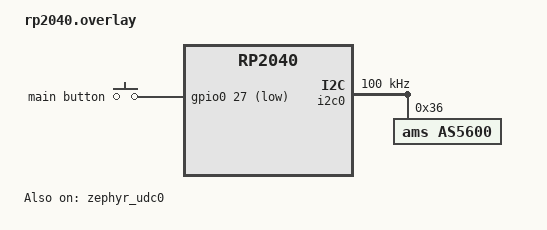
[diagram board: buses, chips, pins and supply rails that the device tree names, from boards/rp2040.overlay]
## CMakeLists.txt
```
# SPDX-License-Identifier: Apache-2.0

cmake_minimum_required(VERSION 3.20.0)
find_package(Zephyr REQUIRED HINTS $ENV{ZEPHYR_BASE})
project(opendial)

include(${ZEPHYR_BASE}/samples/subsys/usb/common/common.cmake)
FILE(GLOB app_sources src/*.c)
target_sources(app PRIVATE ${app_sources})
```

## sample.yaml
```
sample:
  name: USB HID keyboard sample
common:
  filter: dt_alias_exists("sw0") and dt_alias_exists("led0")
  depends_on:
    - usbd
    - gpio
  tags: usb
  timeout: 15
  harness: console
  harness_config:
    type: one_line
    regex:
      - "HID keyboard sample is initialized"
  integration_platforms:
    - nrf52840dk/nrf52840
    - nrf54h20dk/nrf54h20/cpuapp
    - frdm_k64f
    - stm32f723e_disco
    - nucleo_f413zh
    - mimxrt685_evk/mimxrt685s/cm33
    - mimxrt1060_evk/mimxrt1062/qspi
    - samd21_xpro
    - same54_xpro
    - sam_v71_xult/samv71q21b
```

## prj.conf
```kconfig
CONFIG_USB_DEVICE_STACK_NEXT=y
CONFIG_CDC_ACM_SERIAL_INITIALIZE_AT_BOOT=n

# Core USB & Next-Gen Stack Configuration
CONFIG_USB_DEVICE_STACK_NEXT=y
CONFIG_USBD_HID_SUPPORT=y

# Logging & Console
CONFIG_LOG=y
CONFIG_USB_DEVICE_LOG_LEVEL_INF=y

CONFIG_GPIO=y
CONFIG_INPUT=y
CONFIG_INPUT_MODE_SYNCHRONOUS=y

CONFIG_I2C=y
CONFIG_SENSOR=y
CONFIG_SENSOR_ASYNC_API=y
CONFIG_AMS_AS5600=y

CONFIG_BUILD_OUTPUT_UF2=y
CONFIG_CLOCK_CONTROL=y
CONFIG_PIO_RPI_PICO=y
CONFIG_RESET=y
CONFIG_USE_DT_CODE_PARTITION=y

CONFIG_LED_STRIP=y
CONFIG_LED_STRIP_LOG_LEVEL_DBG=y

CONFIG_FLASH=y
CONFIG_FLASH_MAP=y
CONFIG_FLASH_PAGE_LAYOUT=y

CONFIG_SETTINGS=y
CONFIG_SETTINGS_RUNTIME=y
CONFIG_NVS=y
CONFIG_SETTINGS_NVS=y
```

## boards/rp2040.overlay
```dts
#include <zephyr/dt-bindings/i2c/i2c.h>
#include <raspberrypi/rpi_pico/rp2040.dtsi>
#include <zephyr/dt-bindings/pinctrl/rpi-pico-rp2040-pinctrl.h>
#include <zephyr/dt-bindings/input/input-event-codes.h>
#include <freq.h>

/ {
	aliases {
		sw0 = &button_0;
		magnet = &as5600;
		led-strip = &ws2812;
	};

	gpio_keys {
		compatible = "gpio-keys";

		button_0: button_0 {
			label = "main button";
			gpios = <&gpio0 27 (GPIO_PULL_UP | GPIO_ACTIVE_LOW)>;
			zephyr,code = <INPUT_KEY_0>;
		};
	};
}; // Properly closes the root (/) node

&i2c0 {
	status = "okay";
	pinctrl-0 = <&i2c0_custom>;
	pinctrl-names = "default";
	clock-frequency = <I2C_BITRATE_STANDARD>;

	as5600: as5600@36 {
		compatible = "ams,as5600";
		status = "okay";
		reg = <0x36>;
	};
};

&pinctrl {
	i2c0_custom: i2c0_custom {
		group1 {
			pinmux = <I2C0_SDA_P4>;
			input-enable;
		};

		group2 {
			pinmux = <I2C0_SCL_P5>;
			input-enable;
		};
	};
};

&zephyr_udc0 {
	status = "okay";

	hid_dev_0: hid_dev_0 {
		compatible = "zephyr,hid-device";
		label = "HID0";
		in-report-size = <64>;
		in-polling-period-us = <4000>;
	};
};

&gpio0 {
	status = "okay";
};

&pio0 {
	status = "okay";

	pio-ws2812 {
		compatible = "worldsemi,ws2812-rpi_pico-pio";
		status = "okay";
		pinctrl-0 = <&ws2812_pio0_default>;
		pinctrl-names = "default";
		bit-waveform = <3>, <3>, <4>;

		ws2812: ws2812 {
			status = "okay";
			gpios = <&gpio0 16 GPIO_ACTIVE_HIGH>;
			chain-length = <1>;
			color-mapping = <LED_COLOR_ID_GREEN
					 LED_COLOR_ID_RED
					 LED_COLOR_ID_BLUE>;
			reset-delay = <280>;
			frequency = <800000>;
		};
	};
};

&flash0 {
	reg = <0x10000000 DT_SIZE_M(2)>;

	partitions {
		compatible = "fixed-partitions";
		#address-cells = <1>;
		#size-cells = <1>;

		/* Reserved memory for the second stage bootloader */
		second_stage_bootloader: partition@0 {
			label = "second_stage_bootloader";
			reg = <0x00000000 0x100>;
			read-only;
		};

		slot0_partition: partition@100 {
			label = "image-0";
			reg = <0x100 (DT_SIZE_M(1) - 0xF000)>;
		};

		storage_partition: partition@1f9000 {
			label = "storage";
			reg = <0x1F9000 0x00007000>;
		};
	};
};
```

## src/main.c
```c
/*
 * Copyright (c) 2024 Nordic Semiconductor ASA
 *
 * SPDX-License-Identifier: Apache-2.0
 */

#include "zephyr/devicetree.h"

#include <stdint.h>
#include <zephyr/device.h>
#include <zephyr/drivers/gpio.h>
#include <zephyr/drivers/i2c.h>
#include <zephyr/drivers/led_strip.h>
#include <zephyr/input/input.h>
#include <zephyr/kernel.h>

#include <zephyr/drivers/sensor.h>
#include <zephyr/drivers/sensor_data_types.h>
#include <zephyr/rtio/rtio.h>

#include <zephyr/logging/log.h>

LOG_MODULE_REGISTER(main, LOG_LEVEL_INF);

#include "hid.h"
#include "settings.h"
#include "usb_device.h"

#define MODE_SWITCH_DELAY 5000
#define DIRECTION_SWITCH_DELAY 10000
#define DEAD_ZONE 4 // 0.4 degrees
#define BRIGHTNESS 0x7F

#if DT_NODE_HAS_PROP(DT_ALIAS(led_strip), chain_length)
#define STRIP_NUM_PIXELS DT_PROP(DT_ALIAS(led_strip), chain_length)
#else
#error Unable to determine length of LED strip
#endif

static const struct device *strip = DEVICE_DT_GET(DT_ALIAS(led_strip));
static const struct device *magnet_dev = DEVICE_DT_GET_ONE(ams_as5600);

static uint8_t button_state = 0;
static int last_position = 0;
static int64_t last_pressed_time;
static int64_t delta;

static int last_mode = -1;

static struct led_rgb wheel_mode_led = {.r = 0x00, .g = BRIGHTNESS, .b = 0x00};
static struct led_rgb dial_mode_led = {.r = 0x00, .g = 0x00, .b = BRIGHTNESS};

static struct led_rgb direction_led = {.r = BRIGHTNESS, .g = 0x00, .b = 0x00};

static void button_input_cb(struct input_event *evt, void *user_data) {
  if (evt->sync == 0) {
    return;
  }

  printk("Button %d %s at %" PRIu32 "\n", evt->code,
         evt->value ? "pressed" : "released", k_cycle_get_32());

  button_state = evt->value ? 1 : 0;

  if (evt->value) {
    last_pressed_time = k_uptime_get();
  } else {
    int64_t elapsed_time = k_uptime_delta(&last_pressed_time);
    if (elapsed_time > DIRECTION_SWITCH_DELAY) {
      get_mode() == DIAL_MODE ? set_dial_direction(get_dial_direction() * -1)
                              : set_wheel_direction(get_wheel_direction() * -1);
    } else if (elapsed_time > MODE_SWITCH_DELAY) {
      set_mode(get_mode() == DIAL_MODE ? WHEEL_MODE : DIAL_MODE);
    }
  }
}

INPUT_CALLBACK_DEFINE(NULL, button_input_cb, NULL);

int main(void) {
  int res;

  hid_device_init();
  usb_device_init();

  init_settings();

  if (!device_is_ready(magnet_dev)) {
    LOG_ERR("AS5600 is not ready");
    return -EIO;
  }

  if (!device_is_ready(strip)) {
    LOG_ERR("LED is not ready");
    return -EIO;
  }

  struct sensor_value temp;

  while (true) {
    if (!get_hid_ready()) {
      LOG_INF("USB HID device is not ready");
      continue;
    }

    if (button_state) {
      delta = k_uptime_get() - last_pressed_time;
      if (delta > DIRECTION_SWITCH_DELAY) {
        led_strip_update_rgb(strip, &direction_led, STRIP_NUM_PIXELS);
      } else if (delta > MODE_SWITCH_DELAY) {
        led_strip_update_rgb(
            strip, get_mode() == DIAL_MODE ? &wheel_mode_led : &dial_mode_led,
            STRIP_NUM_PIXELS);
      }
    } else {
      led_strip_update_rgb(
          strip, get_mode() == WHEEL_MODE ? &wheel_mode_led : &dial_mode_led,
          STRIP_NUM_PIXELS);
    }

    res = sensor_sample_fetch(magnet_dev);
    if (res != 0) {
      printk("sample_fetch() failed: %d\n", res);
      return res;
    }

    res = sensor_channel_get(magnet_dev, SENSOR_CHAN_ROTATION, &temp);
    if (res != 0) {
      printk("channel_get() failed: %d\n", res);
      return res;
    }

    printk("Rotation: %d.%d\n", temp.val1, temp.val2);

    int rotation = (temp.val1 * 1000000 + temp.val2) / 100000;

    if (last_position == 0)
      last_position = rotation;

    int16_t dif1 = 0;
    if (rotation > last_position) {
      dif1 = rotation - last_position - 3600;
    } else {
      dif1 = 3600 - last_position + rotation;
    }
    int16_t dif2 = rotation - last_position;

    int16_t diff = abs(dif1) > abs(dif2) ? dif2 : dif1;

    printk("Diff: %d\n", diff);

    if (abs(diff) <= DEAD_ZONE)
      continue;

    last_position = rotation;

    if (get_mode() == WHEEL_MODE) {
      hid_device_send_wheel_report(diff * get_wheel_direction());

    } else {
      hid_device_send_dial_report(diff * get_dial_direction(), button_state);
    }

    k_sleep(K_MSEC(4));
  }

  return 0;
}
```

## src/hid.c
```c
#include "hid.h"

#include <zephyr/logging/log.h>
#include <zephyr/usb/class/usbd_hid.h>
#include <zephyr/usb/usbd.h>

LOG_MODULE_REGISTER(hid);

UDC_STATIC_BUF_DEFINE(wheel_report_buf, sizeof(wheel_report_t));
UDC_STATIC_BUF_DEFINE(dial_report_buf, sizeof(dial_report_t));

static const struct device *hid_dev = DEVICE_DT_GET_ONE(zephyr_hid_device);

static feature_report_t mult_state = {
    .report_id = REPORT_ID_MULTIPLIER, .wheel = 0, .ac_pan = 0, .reserved = 0};

static bool hid_ready = false;

static void iface_ready(const struct device *dev, const bool ready) {
  LOG_INF("HID device %s interface is %s", dev->name,
          ready ? "ready" : "not ready");
  hid_ready = ready;
}

static int get_report(const struct device *dev, const uint8_t type,
                      const uint8_t id, const uint16_t len,
                      uint8_t *const buf) {
  if (type != HID_REPORT_TYPE_FEATURE) {
    LOG_WRN("Unsupported report type");
    return -ENOTSUP;
  }

  if (id != REPORT_ID_MULTIPLIER) {
    LOG_WRN("Unsupported report id");
    return -ENOTSUP;
  }

  memcpy(buf, &mult_state, sizeof(mult_state));

  return sizeof(mult_state);
}

static int verify_set_report(const struct device *dev, const uint8_t type,
                             const uint8_t id, const uint16_t len) {
  if (type != HID_REPORT_TYPE_FEATURE) {
    LOG_WRN("Unsupported report type");
    return -ENOTSUP;
  }

  if (id != REPORT_ID_MULTIPLIER) {
    LOG_WRN("Unsupported report id");
    return -ENOTSUP;
  }

  return 0;
}

static int set_report(const struct device *dev, const uint8_t type,
                      const uint8_t id, const uint16_t len,
                      const uint8_t *const buf) {

  if (type != HID_REPORT_TYPE_FEATURE) {
    LOG_WRN("Unsupported report type");
    return -ENOTSUP;
  }

  if (id != REPORT_ID_MULTIPLIER) {
    LOG_WRN("Unsupported report id");
    return -ENOTSUP;
  }

  memcpy(&mult_state, buf, sizeof(mult_state));
  mult_state.report_id = REPORT_ID_MULTIPLIER;
  mult_state.reserved = 0;

  return 0;
}

struct hid_device_ops device_ops = {
    .iface_ready = iface_ready,
    .get_report = get_report,
    .verify_set_report = verify_set_report,
    .set_report = set_report,
};

int hid_device_init(void) {
  if (!device_is_ready(hid_dev)) {
    LOG_ERR("HID Device is not ready");
    return -EIO;
  }

  int err = hid_device_register(hid_dev, hid_report_desc,
                                sizeof(hid_report_desc), &device_ops);
  if (err) {
    LOG_ERR("Failed to register HID Device, %d", err);
    return err;
  }

  return 0;
}

bool get_hid_ready(){
    return hid_ready;
}

int hid_device_send_wheel_report(int value) {
  wheel_report_t *report = (wheel_report_t *)wheel_report_buf;

  report->report_id = REPORT_ID_MOUSE;
  report->buttons = 0;
  report->x_axis = 0;
  report->y_axis = 0;
  report->wheel = value;
  report->ac_pan = 0;

  return hid_device_submit_report(hid_dev, sizeof(wheel_report_t),
                                  wheel_report_buf);
}

int hid_device_send_dial_report(int rotation, bool button_state) {
  dial_report_t *report = (dial_report_t *)dial_report_buf;

  report->report_id = REPORT_ID_DIAL;
  report->button = button_state & 0x01;
  report->rotation = rotation & 0x7FFF;

  return hid_device_submit_report(hid_dev, sizeof(dial_report_t),
                                  dial_report_buf);
}
```

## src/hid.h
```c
#pragma once

#include <stdint.h>
#include <stdbool.h>

#define REPORT_ID_DIAL 0x01
#define REPORT_ID_MOUSE 0x02
#define REPORT_ID_MULTIPLIER 0x03

#define RESOLUTION_MULTIPLIER 80

static const uint8_t hid_report_desc[] = {
    0x05, 0x01,                 // USAGE_PAGE (Generic Desktop)
    0x09, 0x0e,                 // USAGE (System Multi-Axis Controller)
    0xa1, 0x01,                 // COLLECTION (Application)
    0x85, REPORT_ID_DIAL,       //   REPORT_ID (Radial Controller)
    0x05, 0x0d,                 //   USAGE_PAGE (Digitizers)
    0x09, 0x21,                 //   USAGE (Puck)
    0xa1, 0x00,                 //   COLLECTION (Physical)
    0x05, 0x09,                 //     USAGE_PAGE (Buttons)
    0x09, 0x01,                 //     USAGE (Button 1)
    0x95, 0x01,                 //     REPORT_COUNT (1)
    0x75, 0x01,                 //     REPORT_SIZE (1)
    0x15, 0x00,                 //     LOGICAL_MINIMUM (0)
    0x25, 0x01,                 //     LOGICAL_MAXIMUM (1)
    0x81, 0x02,                 //     INPUT (Data,Var,Abs)
    0x05, 0x01,                 //     USAGE_PAGE (Generic Desktop)
    0x09, 0x37,                 //     USAGE (Dial)
    0x95, 0x01,                 //     REPORT_COUNT (1)
    0x75, 0x0f,                 //     REPORT_SIZE (15)
    0x55, 0x0f,                 //     UNIT_EXPONENT (-1)
    0x65, 0x14,                 //     UNIT (Degrees, English Rotation)
    0x36, 0xf0, 0xf1,           //     PHYSICAL_MINIMUM (-3600)
    0x46, 0x10, 0x0e,           //     PHYSICAL_MAXIMUM (3600)
    0x16, 0xf0, 0xf1,           //     LOGICAL_MINIMUM (-3600)
    0x26, 0x10, 0x0e,           //     LOGICAL_MAXIMUM (3600)
    0x81, 0x06,                 //     INPUT (Data,Var,Rel)
    0xc0,                       //   END_COLLECTION
    0xc0,                       // END_COLLECTION

    // Reset globals
    0x55, 0x00,                   // UNIT_EXPONENT (0)
    0x65, 0x00,                   // UNIT (None)
    0x35, 0x00,                   // PHYSICAL_MINIMUM (0)
    0x45, 0x00,                   // PHYSICAL_MAXIMUM (0)

    0x05, 0x01,                   // Usage Page (Generic Desktop Ctrls)
    0x09, 0x02,                   // Usage (Mouse)
    0xA1, 0x01,                   // Collection (Application)
    0x05, 0x01,                   //   Usage Page (Generic Desktop Ctrls)
    0x09, 0x02,                   //   Usage (Mouse)
    0xA1, 0x02,                   //   Collection (Logical)
    0x85, REPORT_ID_MOUSE,        //     Report ID (REPORT_ID_MOUSE)
    0x09, 0x01,                   //     Usage (Pointer)
    0xA1, 0x00,                   //     Collection (Physical)
    0x05, 0x09,                   //       Usage Page (Button)
    0x19, 0x01,                   //       Usage Minimum (0x01)
    0x29, 0x08,                   //       Usage Maximum (0x08)
    0x95, 0x08,                   //       Report Count (8)
    0x75, 0x01,                   //       Report Size (1)
    0x15, 0x00,                   //       Logical Minimum (0)
    0x25, 0x01,                   //       Logical Maximum (1)
    0x81, 0x02,                   //       Input (Data,Var,Abs,No Wrap,Linear,Preferred State,No Null Position)
    0x05, 0x01,                   //       Usage Page (Generic Desktop Ctrls)
    0x09, 0x30,                   //       Usage (X)
    0x09, 0x31,                   //       Usage (Y)
    0x95, 0x02,                   //       Report Count (2)
    0x75, 0x10,                   //       Report Size (16)
    0x16, 0x00, 0x80,             //       Logical Minimum (-32768)
    0x26, 0xFF, 0x7F,             //       Logical Maximum (32767)
    0x81, 0x06,                   //       Input (Data,Var,Rel,No Wrap,Linear,Preferred State,No Null Position)
    0xA1, 0x02,                   //       Collection (Logical)
    0x85, REPORT_ID_MULTIPLIER,   //         Report ID (REPORT_ID_MULTIPLIER)
    0x09, 0x48,                   //         Usage (Resolution Multiplier)
    0x95, 0x01,                   //         Report Count (1)
    0x75, 0x02,                   //         Report Size (2)
    0x15, 0x00,                   //         Logical Minimum (0)
    0x25, 0x01,                   //         Logical Maximum (1)
    0x35, 0x01,                   //         Physical Minimum (1)
    0x45, RESOLUTION_MULTIPLIER,  //         Physical Maximum (RESOLUTION_MULTIPLIER)
    0xB1, 0x02,                   //         Feature (Data,Var,Abs,No Wrap,Linear,Preferred State,No Null Position,Non-volatile)
    0x85, REPORT_ID_MOUSE,        //         Report ID (REPORT_ID_MOUSE)
    0x09, 0x38,                   //         Usage (Wheel)
    0x35, 0x00,                   //         Physical Minimum (0)
    0x45, 0x00,                   //         Physical Maximum (0)
    0x16, 0x00, 0x80,             //         Logical Minimum (-32768)
    0x26, 0xFF, 0x7F,             //         Logical Maximum (32767)
    0x75, 0x10,                   //         Report Size (16)
    0x81, 0x06,                   //         Input (Data,Var,Rel,No Wrap,Linear,Preferred State,No Null Position)
    0xC0,                         //       End Collection
    0xA1, 0x02,                   //       Collection (Logical)
    0x85, REPORT_ID_MULTIPLIER,   //         Report ID (REPORT_ID_MULTIPLIER)
    0x09, 0x48,                   //         Usage (Resolution Multiplier)
    0x75, 0x02,                   //         Report Size (2)
    0x15, 0x00,                   //         Logical Minimum (0)
    0x25, 0x01,                   //         Logical Maximum (1)
    0x35, 0x01,                   //         Physical Minimum (1)
    0x45, RESOLUTION_MULTIPLIER,  //         Physical Maximum (RESOLUTION_MULTIPLIER)
    0xB1, 0x02,                   //         Feature (Data,Var,Abs,No Wrap,Linear,Preferred State,No Null Position,Non-volatile)
    0x35, 0x00,                   //         Physical Minimum (0)
    0x45, 0x00,                   //         Physical Maximum (0)
    0x75, 0x04,                   //         Report Size (4)
    0xB1, 0x03,                   //         Feature (Const,Var,Abs,No Wrap,Linear,Preferred State,No Null Position,Non-volatile)
    0x85, REPORT_ID_MOUSE,        //         Report ID (REPORT_ID_MOUSE)
    0x05, 0x0C,                   //         Usage Page (Consumer)
    0x16, 0x00, 0x80,             //         Logical Minimum (-32768)
    0x26, 0xFF, 0x7F,             //         Logical Maximum (32767)
    0x75, 0x10,                   //         Report Size (16)
    0x0A, 0x38, 0x02,             //         Usage (AC Pan)
    0x81, 0x06,                   //         Input (Data,Var,Rel,No Wrap,Linear,Preferred State,No Null Position)
    0xC0,                         //       End Collection
    0xC0,                         //     End Collection
    0xC0,                         //   End Collection
    0xC0,                         // End Collection
};

typedef struct __attribute__((packed)) {
  uint8_t report_id : 8;
  uint16_t button : 1;
  int16_t rotation : 15;
} dial_report_t;

typedef struct __attribute__((packed)) {
  uint8_t report_id;
  uint8_t buttons;
  int16_t x_axis;
  int16_t y_axis;
  int16_t wheel;
  int16_t ac_pan;
} wheel_report_t;

typedef struct __attribute__((packed)) {
  uint8_t report_id : 8;
  uint8_t wheel : 2;
  uint8_t ac_pan : 2;
  uint8_t reserved : 4;
} feature_report_t;

int hid_device_init(void);
bool get_hid_ready(void);
int hid_device_send_wheel_report(int value);
int hid_device_send_dial_report(int rotation, bool button_state);
```

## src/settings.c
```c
#include "settings.h"
#include <zephyr/kernel.h>
#include <zephyr/settings/settings.h>

static int active_mode = WHEEL_MODE;
static int dial_direction = 1;
static int wheel_direction = -1;

static int settings_set(const char *name, size_t len, settings_read_cb read_cb,
                        void *cb_arg) {
  const char *next;
  int rc;

  if (settings_name_steq(name, "dial", &next) && !next) {
    if (len != sizeof(dial_direction)) {
      return -EINVAL;
    }

    rc = read_cb(cb_arg, &dial_direction, sizeof(dial_direction));
    if (rc >= 0) {
      return 0;
    }

    return rc;
  } else if (settings_name_steq(name, "wheel", &next) && !next) {
    if (len != sizeof(wheel_direction)) {
      return -EINVAL;
    }

    rc = read_cb(cb_arg, &wheel_direction, sizeof(wheel_direction));
    if (rc >= 0) {
      return 0;
    }

    return rc;
  } else if (settings_name_steq(name, "mode", &next) && !next) {
    if (len != sizeof(active_mode)) {
      return -EINVAL;
    }

    rc = read_cb(cb_arg, &active_mode, sizeof(active_mode));
    if (rc >= 0) {
      return 0;
    }

    return rc;
  }

  return -ENOENT;
}

struct settings_handler settings_conf = {.name = "opendial",
                                         .h_set = settings_set};

int init_settings() {
  settings_subsys_init();
  settings_register(&settings_conf);
  settings_load();

  return 0;
}

int set_dial_direction(int direction) {
  dial_direction = direction;
  return settings_save_one("opendial/dial", &dial_direction,
                           sizeof(dial_direction));
}

int set_wheel_direction(int direction) {
  wheel_direction = direction;
  return settings_save_one("opendial/wheel", &wheel_direction,
                           sizeof(wheel_direction));
}

int set_mode(int mode) {
  active_mode = mode;
  return settings_save_one("opendial/mode", &active_mode, sizeof(active_mode));
}

int get_dial_direction() { return dial_direction; }

int get_wheel_direction() { return wheel_direction; }

int get_mode() { return active_mode; }
```

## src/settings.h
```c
#pragma once

#include <stdint.h>
#include <stdbool.h>

#define DIAL_MODE 1
#define WHEEL_MODE 2

int init_settings(void);
int set_wheel_direction(int direction);
int set_dial_direction(int direction);
int set_mode(int mode);

int get_wheel_direction();
int get_dial_direction();
int get_mode();
```

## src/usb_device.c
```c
#include "usb_device.h"
#include <zephyr/usb/usbd.h>

#include <zephyr/logging/log.h>
LOG_MODULE_REGISTER(usb_device);

USBD_DEVICE_DEFINE(usb_device,
                   DEVICE_DT_GET(DT_NODELABEL(zephyr_udc0)),
                   USB_VID, USB_PID);

// These fields are optional
USBD_DESC_LANG_DEFINE(language); // Will be set to English (United States)
USBD_DESC_MANUFACTURER_DEFINE(manufacturer, MANUFACTURER);
USBD_DESC_PRODUCT_DEFINE(product, PRODUCT);

// We need to define a configuration for each supported speed. For simplicity we will not do high speed. Only full speed.
static const uint8_t attributes = 0;

#define EXAMPLE_MAX_POWER 125 // In 2mA units so its 250mA
USBD_DESC_CONFIG_DEFINE(fs_cfg_desc, "Full Speed Configuration");
USBD_CONFIGURATION_DEFINE(example_fs_config, attributes, EXAMPLE_MAX_POWER, &fs_cfg_desc);

int usb_device_init(void) {
    int err;

    err = usbd_add_descriptor(&usb_device, &language);
    if (err) {
        LOG_ERR("Failed to add language descriptor %d", err);
        return err;
    }

    err = usbd_add_descriptor(&usb_device, &manufacturer);
    if (err) {
        LOG_ERR("Failed to add manufacturer descriptor %d", err);
        return err;
    }

    err = usbd_add_descriptor(&usb_device, &product);
    if (err) {
        LOG_ERR("Failed to add product descriptor %d", err);
        return err;
    }

    //
    // Adding configuration for full speed
    //
    err = usbd_add_configuration(&usb_device, USBD_SPEED_FS, &example_fs_config);
    if (err) {
        LOG_ERR("Failed to add Full-Speed configuration");
        return err;
    }

    err = usbd_register_all_classes(&usb_device, USBD_SPEED_FS, 1, NULL);
    if (err) {
        LOG_ERR("Failed to add register class");
        return err;
    }

    /*
     * The device descriptor has three fields for identifying device class
     * bDeviceClass, bDeviceSubClass, bDeviceProtocol
     *
     * If the device provides multiple USB functions (a composite device)
     * it should use the Miscellaneous Device Class to indicate that the host
     * should look at the interface descriptors to determine the device class.
     *
     * If it's a single-function device like HID, these fields can be set to 0
     */
    if (IS_ENABLED(CONFIG_USBD_CDC_ACM_CLASS) ||
        IS_ENABLED(CONFIG_USBD_CDC_ECM_CLASS) ||
        IS_ENABLED(CONFIG_USBD_CDC_NCM_CLASS) ||
        IS_ENABLED(CONFIG_USBD_MIDI2_CLASS) ||
        IS_ENABLED(CONFIG_USBD_AUDIO2_CLASS) ||
        IS_ENABLED(CONFIG_USBD_VIDEO_CLASS)) {

        usbd_device_set_code_triple(&usb_device, USBD_SPEED_FS, USB_BCC_MISCELLANEOUS, 0x02, 0x01);
    } else {
        usbd_device_set_code_triple(&usb_device, USBD_SPEED_FS, 0, 0, 0);
    }

    // Here we could add a callback for handling device state changes
    // This is used for things like sleep and wake up
    // usbd_msg_register_cb(&example_usbd, example_usbd_msg_cb);

    //
    // Initializing the USB device
    //
    err = usbd_init(&usb_device);
    if (err) {
        LOG_ERR("Failed to initialize device %d", err);
        return err;
    }

    // For self powered devices we would only want to enable it if it's plugged in
    if (!usbd_can_detect_vbus(&usb_device)) {
        err = usbd_enable(&usb_device);
    }

    return 0;
}
```

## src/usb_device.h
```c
#pragma once

#define USB_VID 0x2E8A
#define USB_PID 0x1F00
#define MANUFACTURER "nevelate"
#define PRODUCT "OpenDial"

int usb_device_init(void);
```
